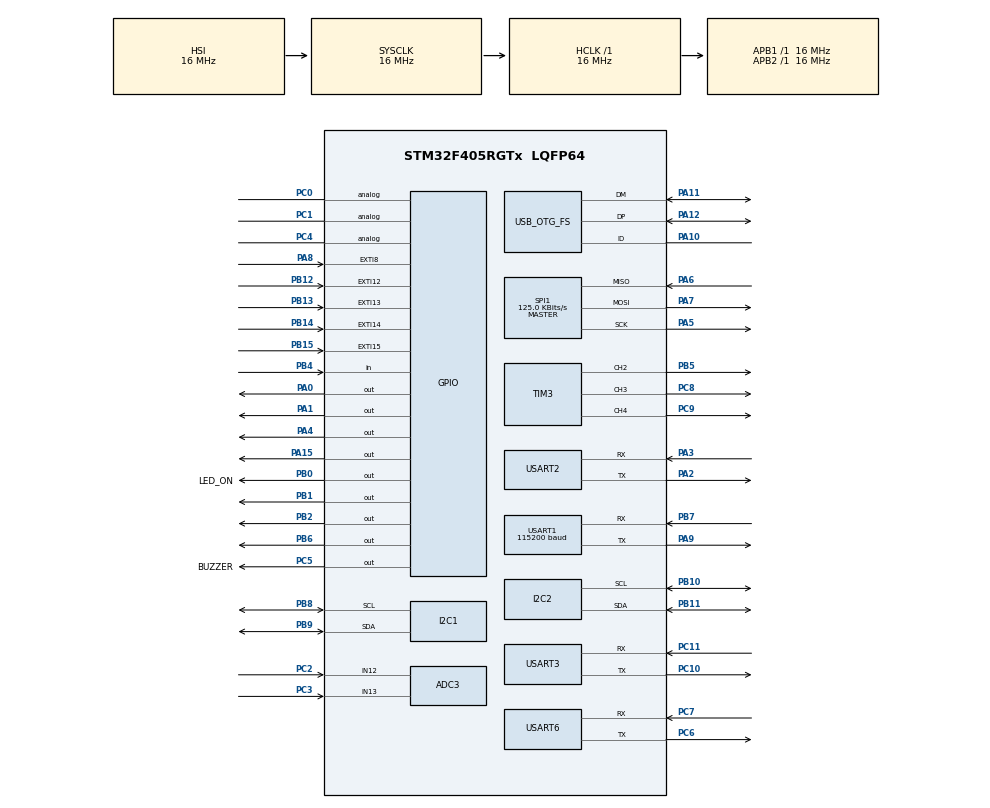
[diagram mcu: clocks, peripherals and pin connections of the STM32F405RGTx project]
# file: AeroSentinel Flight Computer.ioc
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ADC3.Channel-1\#ChannelRegularConversion=ADC_CHANNEL_12
ADC3.NbrOfConversionFlag=1
ADC3.Rank-1\#ChannelRegularConversion=1
ADC3.SamplingTime-1\#ChannelRegularConversion=ADC_SAMPLETIME_3CYCLES
FATFS._MAX_SS=4096
FATFS._USE_LFN=0
FREERTOS.BinarySemaphores01=menuSemaphore,Dynamic,NULL
FREERTOS.Events01=startCommandEvent,Dynamic,NULL
FREERTOS.Tasks01=StartCommand,40,128,StartCommandWaitTask,Default,NULL,Dynamic,NULL,NULL;Menu,24,2048,MenuTask,Default,NULL,Dynamic,NULL,NULL
FREERTOS.configUSE_NEWLIB_REENTRANT=1
Mcu.Family=STM32F4
Mcu.Name=STM32F405RGTx
Mcu.Package=LQFP64
NVIC.EXTI15_10_IRQn=true\:5\:0\:false\:false\:true\:true\:true\:true\:true
NVIC.EXTI9_5_IRQn=true\:5\:0\:false\:false\:true\:true\:true\:true\:true
NVIC.PriorityGroup=NVIC_PRIORITYGROUP_4
PA0-WKUP.Signal=GPIO_Output
PA1.Signal=GPIO_Output
PA10.Mode=OTG/Dual_Role_Device
PA10.Signal=USB_OTG_FS_ID
PA11.Mode=OTG/Dual_Role_Device
PA11.Signal=USB_OTG_FS_DM
PA12.Mode=OTG/Dual_Role_Device
PA12.Signal=USB_OTG_FS_DP
PA13.Mode=Serial_Wire
PA13.Signal=SYS_JTMS-SWDIO
PA14.Mode=Serial_Wire
PA14.Signal=SYS_JTCK-SWCLK
PA15.Signal=GPIO_Output
PA2.Mode=Asynchronous
PA2.Signal=USART2_TX
PA3.Mode=Asynchronous
PA3.Signal=USART2_RX
PA4.GPIO_Speed=GPIO_SPEED_FREQ_MEDIUM
PA4.PinState=GPIO_PIN_SET
PA4.Signal=GPIO_Output
PA5.Mode=Full_Duplex_Master
PA5.Signal=SPI1_SCK
PA6.Mode=Full_Duplex_Master
PA6.Signal=SPI1_MISO
PA7.Mode=Full_Duplex_Master
PA7.Signal=SPI1_MOSI
PA8.Signal=GPXTI8
PA9.Mode=Asynchronous
PA9.Signal=USART1_TX
PB0.GPIO_Label=LED_ON
PB0.Signal=GPIO_Output
PB1.Signal=GPIO_Output
PB10.Mode=I2C
PB10.Signal=I2C2_SCL
PB11.Mode=I2C
PB11.Signal=I2C2_SDA
PB12.Signal=GPXTI12
PB13.Signal=GPXTI13
PB14.Signal=GPXTI14
PB15.Signal=GPXTI15
PB2.Signal=GPIO_Output
PB4.Signal=GPIO_Input
PB5.Signal=S_TIM3_CH2
PB6.Signal=GPIO_Output
PB7.Mode=Asynchronous
PB7.Signal=USART1_RX
PB8.Mode=I2C
PB8.Signal=I2C1_SCL
PB9.Mode=I2C
PB9.Signal=I2C1_SDA
PC0.Signal=GPIO_Analog
PC1.Signal=GPIO_Analog
PC10.Mode=Asynchronous
PC10.Signal=USART3_TX
PC11.Mode=Asynchronous
PC11.Signal=USART3_RX
PC2.Signal=ADCx_IN12
PC3.Signal=ADCx_IN13
PC4.Signal=GPIO_Analog
PC5.GPIO_Label=BUZZER
PC5.Signal=GPIO_Output
PC6.Mode=Asynchronous
PC6.Signal=USART6_TX
PC7.Mode=Asynchronous
PC7.Signal=USART6_RX
PC8.Signal=S_TIM3_CH3
PC9.Signal=S_TIM3_CH4
PH0-OSC_IN.Mode=HSE-External-Oscillator
PH0-OSC_IN.Signal=RCC_OSC_IN
PH1-OSC_OUT.Mode=HSE-External-Oscillator
PH1-OSC_OUT.Signal=RCC_OSC_OUT
ProjectManager.HeapSize=0x200
ProjectManager.StackSize=0x400
ProjectManager.TargetToolchain=STM32CubeIDE
RCC.48MHZClocksFreq_Value=48000000
RCC.AHBFreq_Value=16000000
RCC.APB1Freq_Value=16000000
RCC.APB2Freq_Value=16000000
RCC.CortexFreq_Value=16000000
RCC.HSE_VALUE=25000000
RCC.HSI_VALUE=16000000
RCC.LSE_VALUE=32768
RCC.PLLM=15
RCC.PLLN=144
RCC.PLLQ=5
RCC.SYSCLKFreq_VALUE=16000000
RCC.VCOOutputFreq_Value=240000000
SH.ADCx_IN12.0=ADC3_IN12,IN12
SH.ADCx_IN13.0=ADC3_IN13,IN13
SH.S_TIM3_CH2.0=TIM3_CH2,PWM Generation2 CH2
SH.S_TIM3_CH3.0=TIM3_CH3,PWM Generation3 CH3
SH.S_TIM3_CH4.0=TIM3_CH4,PWM Generation4 CH4
SPI1.BaudRatePrescaler=SPI_BAUDRATEPRESCALER_128
SPI1.CalculateBaudRate=125.0 KBits/s
SPI1.Direction=SPI_DIRECTION_2LINES
SPI1.Mode=SPI_MODE_MASTER
SPI1.VirtualType=VM_MASTER
STMicroelectronics.X-CUBE-MEMS1.9.6.0.SensorsJjSTM32IiMotionFXIiLibraryJjCore=true
TIM3.Channel-PWM\ Generation2\ CH2=TIM_CHANNEL_2
TIM3.Channel-PWM\ Generation3\ CH3=TIM_CHANNEL_3
TIM3.Channel-PWM\ Generation4\ CH4=TIM_CHANNEL_4
USART1.BaudRate=115200
USART1.VirtualMode=VM_ASYNC
USART2.VirtualMode=VM_ASYNC
USART3.VirtualMode=VM_ASYNC
USART6.VirtualMode=VM_ASYNC
VP_CRC_VS_CRC.Mode=CRC_Activate
VP_FATFS_VS_Generic.Mode=User_defined
VP_FREERTOS_VS_CMSIS_V2.Mode=CMSIS_V2
VP_RTC_VS_RTC_Activate.Mode=RTC_Enabled
VP_STMicroelectronics.X-CUBE-MEMS1_VS_SensorsJjSTM32IiMotionFXIiLibrary_2.8.0_9.6.0.Mode=SensorsJjSTM32IiMotionFXIiLibrary
VP_TIM2_VS_ClockSourceINT.Mode=Internal
VP_TIM3_VS_ClockSourceINT.Mode=Internal
VP_TIM5_VS_ClockSourceINT.Mode=Internal
board=custom

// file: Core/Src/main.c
/* USER CODE BEGIN Header */
  /***
   *               ______ _____   ____   _____ ______ _   _ _______ _____ _   _ ______ _
   *         /\   |  ____|  __ \ / __ \ / ____|  ____| \ | |__   __|_   _| \ | |  ____| |
   *        /  \  | |__  | |__) | |  | | (___ | |__  |  \| |  | |    | | |  \| | |__  | |
   *       / /\ \ |  __| |  _  /| |  | |\___ \|  __| | . ` |  | |    | | | . ` |  __| | |
   *      / ____ \| |____| | \ \| |__| |____) | |____| |\  |  | |   _| |_| |\  | |____| |____
   *     /_/    \_\______|_|  \_\\____/|_____/|______|_| \_|  |_|  |_____|_| \_|______|______|
   *                                                                 By Yassine DEHHANI
   *	 ________________________________
   *     |								|
   *     | File : Main.c				|
   *     |______________________________|
   *     |								|
   *     | Description : Main entry     |
   *     | for software execution       |
   *     |______________________________|
   *
   *
   */
/* USER CODE END Header */
#include "main.h"
#include "cmsis_os.h"
#include "fatfs.h"

/* USER CODE BEGIN Includes */

#include <Control_Center.h>
#include "fatfs.h"
#include "e220.h"
#include "RTOS_Attributes_Local.h"

/* USER CODE END Includes */

ADC_HandleTypeDef hadc3;

CRC_HandleTypeDef hcrc;

I2C_HandleTypeDef hi2c1;
I2C_HandleTypeDef hi2c2;

RTC_HandleTypeDef hrtc;

SPI_HandleTypeDef hspi1;

TIM_HandleTypeDef htim2;
TIM_HandleTypeDef htim3;
TIM_HandleTypeDef htim5;

UART_HandleTypeDef huart1;
UART_HandleTypeDef huart2;
UART_HandleTypeDef huart3;
UART_HandleTypeDef huart6;

/* Definitions for StartCommand */
osThreadId_t StartCommandHandle;
const osThreadAttr_t StartCommand_attributes = {
  .name = "StartCommand",
  .stack_size = 128 * 4,
  .priority = (osPriority_t) osPriorityHigh,
};
/* Definitions for Menu */
osThreadId_t MenuHandle;
const osThreadAttr_t Menu_attributes = {
  .name = "Menu",
  .stack_size = 2048 * 4,
  .priority = (osPriority_t) osPriorityNormal,
};
/* Definitions for menuSemaphore */
osSemaphoreId_t menuSemaphoreHandle;
const osSemaphoreAttr_t menuSemaphore_attributes = {
  .name = "menuSemaphore"
};
/* Definitions for startCommandEvent */
osEventFlagsId_t startCommandEventHandle;
const osEventFlagsAttr_t startCommandEvent_attributes = {
  .name = "startCommandEvent"
};

void SystemClock_Config(void);
static void MX_GPIO_Init(void);
static void MX_ADC3_Init(void);
static void MX_I2C1_Init(void);
static void MX_I2C2_Init(void);
static void MX_SPI1_Init(void);
static void MX_USART1_UART_Init(void);
static void MX_USART2_UART_Init(void);
static void MX_USART3_UART_Init(void);
static void MX_USART6_UART_Init(void);
static void MX_USB_OTG_FS_USB_Init(void);
static void MX_TIM2_Init(void);
static void MX_TIM3_Init(void);
static void MX_TIM5_Init(void);
static void MX_RTC_Init(void);
static void MX_CRC_Init(void);
void StartCommandWaitTask(void *argument);
void MenuTask(void *argument);

/* USER CODE BEGIN 0 */

void UART_Transmit_Uint8(uint8_t value)
{
    char buffer[5];  // Assuming uint8_t values won't exceed 3 digits

    sprintf(buffer, "%hhu\r\n", value);
    HAL_UART_Transmit(&huart1, (uint8_t*)buffer, strlen(buffer), HAL_MAX_DELAY);
}

/* USER CODE END 0 */

int main(void)
{

  /* MCU Configuration--------------------------------------------------------*/

  /* Reset of all peripherals, Initializes the Flash interface and the Systick. */
  HAL_Init();

  /* Configure the system clock */
  SystemClock_Config();

  /* Initialize all configured peripherals */
  MX_GPIO_Init();
  MX_ADC3_Init();
  MX_I2C1_Init();
  MX_I2C2_Init();
  MX_SPI1_Init();
  MX_USART1_UART_Init();
  MX_USART2_UART_Init();
  MX_USART3_UART_Init();
  MX_USART6_UART_Init();
  MX_USB_OTG_FS_USB_Init();
  MX_TIM2_Init();
  MX_TIM3_Init();
  MX_TIM5_Init();
  MX_FATFS_Init();
  MX_RTC_Init();
  MX_CRC_Init();
  /* USER CODE BEGIN 2 */

  HAL_GPIO_WritePin(GPIOB, LED_ON_Pin, GPIO_PIN_SET); // LED_ON Pin enabled

  //INITIALIZATION SECTOR

  //printIntroTitle();
  //printOptions();

  /* USER CODE END 2 */

  /* Init scheduler */
  osKernelInitialize();

  /* Create the semaphores(s) */
  /* creation of menuSemaphore */
  menuSemaphoreHandle = osSemaphoreNew(1, 1, &menuSemaphore_attributes);

  /* Create the thread(s) */
  /* creation of StartCommand */
  StartCommandHandle = osThreadNew(StartCommandWaitTask, NULL, &StartCommand_attributes);

  /* creation of Menu */
  MenuHandle = osThreadNew(MenuTask, NULL, &Menu_attributes);

  /* USER CODE BEGIN RTOS_THREADS */

  // Create and start the Command Wait task
  //osThreadNew(StartCommandWaitTask, NULL, &commandWaitTask_attributes);

  // Create and start the MenuTask
  //osThreadNew(MenuTask, NULL, NULL); // This line creates and starts the MenuTask

  /* USER CODE END RTOS_THREADS */

  /* Create the event(s) */
  /* creation of startCommandEvent */
  startCommandEventHandle = osEventFlagsNew(&startCommandEvent_attributes);

  /* Start scheduler */
  osKernelStart();

  /* We should never get here as control is now taken by the scheduler */
  /* Infinite loop */
  while (1)
  {

    /* USER CODE BEGIN 3 */

	  // Usage : screen /dev/tty.usbserial-1120 (OR tty.usbserial-1130)  115200
	  //MENU SECTOR ------------------------------------------------------------------------

	  char userInput;
	  UART_Transmit_String("\r\nChoice: ");
	         HAL_UART_Receive(&huart1, (uint8_t *)&userInput, sizeof(userInput), HAL_MAX_DELAY);

	         switch (userInput)
	         {
	         case '\r': // Ignore carriage return characters
	             break;
	         case '\n': // Process command on new line (Enter pressed)
	             UART_Transmit_String("\r\n"); // Move to a new line after the command
	             break;
	         default:
	             menu(userInput);
	             break;
	         }

	         HAL_Delay(100);

	  //END MENU SECTOR ------------------------------------------------------------------------

  }

  /* USER CODE END 3 */
}

void SystemClock_Config(void)
{
  RCC_OscInitTypeDef RCC_OscInitStruct = {0};
  RCC_ClkInitTypeDef RCC_ClkInitStruct = {0};

  /** Configure the main internal regulator output voltage
  */
  __HAL_RCC_PWR_CLK_ENABLE();
  __HAL_PWR_VOLTAGESCALING_CONFIG(PWR_REGULATOR_VOLTAGE_SCALE1);

  /** Initializes the RCC Oscillators according to the specified parameters
  * in the RCC_OscInitTypeDef structure.
  */
  RCC_OscInitStruct.OscillatorType = RCC_OSCILLATORTYPE_HSI|RCC_OSCILLATORTYPE_LSI
                              |RCC_OSCILLATORTYPE_HSE;
  RCC_OscInitStruct.HSEState = RCC_HSE_ON;
  RCC_OscInitStruct.HSIState = RCC_HSI_ON;
  RCC_OscInitStruct.HSICalibrationValue = RCC_HSICALIBRATION_DEFAULT;
  RCC_OscInitStruct.LSIState = RCC_LSI_ON;
  RCC_OscInitStruct.PLL.PLLState = RCC_PLL_ON;
  RCC_OscInitStruct.PLL.PLLSource = RCC_PLLSOURCE_HSE;
  RCC_OscInitStruct.PLL.PLLM = 15;
  RCC_OscInitStruct.PLL.PLLN = 144;
  RCC_OscInitStruct.PLL.PLLP = RCC_PLLP_DIV2;
  RCC_OscInitStruct.PLL.PLLQ = 5;
  if (HAL_RCC_OscConfig(&RCC_OscInitStruct) != HAL_OK)
  {
    Error_Handler();
  }

  /** Initializes the CPU, AHB and APB buses clocks
  */
  RCC_ClkInitStruct.ClockType = RCC_CLOCKTYPE_HCLK|RCC_CLOCKTYPE_SYSCLK
                              |RCC_CLOCKTYPE_PCLK1|RCC_CLOCKTYPE_PCLK2;
  RCC_ClkInitStruct.SYSCLKSource = RCC_SYSCLKSOURCE_HSI;
  RCC_ClkInitStruct.AHBCLKDivider = RCC_SYSCLK_DIV1;
  RCC_ClkInitStruct.APB1CLKDivider = RCC_HCLK_DIV1;
  RCC_ClkInitStruct.APB2CLKDivider = RCC_HCLK_DIV1;

  if (HAL_RCC_ClockConfig(&RCC_ClkInitStruct, FLASH_LATENCY_0) != HAL_OK)
  {
    Error_Handler();
  }
}

static void MX_ADC3_Init(void)
{

  ADC_ChannelConfTypeDef sConfig = {0};

  /** Configure the global features of the ADC (Clock, Resolution, Data Alignment and number of conversion)
  */
  hadc3.Instance = ADC3;
  hadc3.Init.ClockPrescaler = ADC_CLOCK_SYNC_PCLK_DIV2;
  hadc3.Init.Resolution = ADC_RESOLUTION_12B;
  hadc3.Init.ScanConvMode = DISABLE;
  hadc3.Init.ContinuousConvMode = DISABLE;
  hadc3.Init.DiscontinuousConvMode = DISABLE;
  hadc3.Init.ExternalTrigConvEdge = ADC_EXTERNALTRIGCONVEDGE_NONE;
  hadc3.Init.ExternalTrigConv = ADC_SOFTWARE_START;
  hadc3.Init.DataAlign = ADC_DATAALIGN_RIGHT;
  hadc3.Init.NbrOfConversion = 1;
  hadc3.Init.DMAContinuousRequests = DISABLE;
  hadc3.Init.EOCSelection = ADC_EOC_SINGLE_CONV;
  if (HAL_ADC_Init(&hadc3) != HAL_OK)
  {
    Error_Handler();
  }

  /** Configure for the selected ADC regular channel its corresponding rank in the sequencer and its sample time.
  */
  sConfig.Channel = ADC_CHANNEL_12;
  sConfig.Rank = 1;
  sConfig.SamplingTime = ADC_SAMPLETIME_3CYCLES;
  if (HAL_ADC_ConfigChannel(&hadc3, &sConfig) != HAL_OK)
  {
    Error_Handler();
  }

}

static void MX_CRC_Init(void)
{

  hcrc.Instance = CRC;
  if (HAL_CRC_Init(&hcrc) != HAL_OK)
  {
    Error_Handler();
  }

}

static void MX_I2C1_Init(void)
{

  hi2c1.Instance = I2C1;
  hi2c1.Init.ClockSpeed = 100000;
  hi2c1.Init.DutyCycle = I2C_DUTYCYCLE_2;
  hi2c1.Init.OwnAddress1 = 0;
  hi2c1.Init.AddressingMode = I2C_ADDRESSINGMODE_7BIT;
  hi2c1.Init.DualAddressMode = I2C_DUALADDRESS_DISABLE;
  hi2c1.Init.OwnAddress2 = 0;
  hi2c1.Init.GeneralCallMode = I2C_GENERALCALL_DISABLE;
  hi2c1.Init.NoStretchMode = I2C_NOSTRETCH_DISABLE;
  if (HAL_I2C_Init(&hi2c1) != HAL_OK)
  {
    Error_Handler();
  }

}

static void MX_I2C2_Init(void)
{

  hi2c2.Instance = I2C2;
  hi2c2.Init.ClockSpeed = 100000;
  hi2c2.Init.DutyCycle = I2C_DUTYCYCLE_2;
  hi2c2.Init.OwnAddress1 = 0;
  hi2c2.Init.AddressingMode = I2C_ADDRESSINGMODE_7BIT;
  hi2c2.Init.DualAddressMode = I2C_DUALADDRESS_DISABLE;
  hi2c2.Init.OwnAddress2 = 0;
  hi2c2.Init.GeneralCallMode = I2C_GENERALCALL_DISABLE;
  hi2c2.Init.NoStretchMode = I2C_NOSTRETCH_DISABLE;
  if (HAL_I2C_Init(&hi2c2) != HAL_OK)
  {
    Error_Handler();
  }

}

static void MX_RTC_Init(void)
{

  /** Initialize RTC Only
  */
  hrtc.Instance = RTC;
  hrtc.Init.HourFormat = RTC_HOURFORMAT_24;
  hrtc.Init.AsynchPrediv = 127;
  hrtc.Init.SynchPrediv = 255;
  hrtc.Init.OutPut = RTC_OUTPUT_DISABLE;
  hrtc.Init.OutPutPolarity = RTC_OUTPUT_POLARITY_HIGH;
  hrtc.Init.OutPutType = RTC_OUTPUT_TYPE_OPENDRAIN;
  if (HAL_RTC_Init(&hrtc) != HAL_OK)
  {
    Error_Handler();
  }

}

static void MX_SPI1_Init(void)
{

  /* SPI1 parameter configuration*/
  hspi1.Instance = SPI1;
  hspi1.Init.Mode = SPI_MODE_MASTER;
  hspi1.Init.Direction = SPI_DIRECTION_2LINES;
  hspi1.Init.DataSize = SPI_DATASIZE_8BIT;
  hspi1.Init.CLKPolarity = SPI_POLARITY_LOW;
  hspi1.Init.CLKPhase = SPI_PHASE_1EDGE;
  hspi1.Init.NSS = SPI_NSS_SOFT;
  hspi1.Init.BaudRatePrescaler = SPI_BAUDRATEPRESCALER_128;
  hspi1.Init.FirstBit = SPI_FIRSTBIT_MSB;
  hspi1.Init.TIMode = SPI_TIMODE_DISABLE;
  hspi1.Init.CRCCalculation = SPI_CRCCALCULATION_DISABLE;
  hspi1.Init.CRCPolynomial = 10;
  if (HAL_SPI_Init(&hspi1) != HAL_OK)
  {
    Error_Handler();
  }

}

static void MX_TIM2_Init(void)
{

  TIM_ClockConfigTypeDef sClockSourceConfig = {0};
  TIM_MasterConfigTypeDef sMasterConfig = {0};

  htim2.Instance = TIM2;
  htim2.Init.Prescaler = 0;
  htim2.Init.CounterMode = TIM_COUNTERMODE_UP;
  htim2.Init.Period = 4294967295;
  htim2.Init.ClockDivision = TIM_CLOCKDIVISION_DIV1;
  htim2.Init.AutoReloadPreload = TIM_AUTORELOAD_PRELOAD_DISABLE;
  if (HAL_TIM_Base_Init(&htim2) != HAL_OK)
  {
    Error_Handler();
  }
  sClockSourceConfig.ClockSource = TIM_CLOCKSOURCE_INTERNAL;
  if (HAL_TIM_ConfigClockSource(&htim2, &sClockSourceConfig) != HAL_OK)
  {
    Error_Handler();
  }
  sMasterConfig.MasterOutputTrigger = TIM_TRGO_RESET;
  sMasterConfig.MasterSlaveMode = TIM_MASTERSLAVEMODE_DISABLE;
  if (HAL_TIMEx_MasterConfigSynchronization(&htim2, &sMasterConfig) != HAL_OK)
  {
    Error_Handler();
  }

}

static void MX_TIM3_Init(void)
{

  TIM_ClockConfigTypeDef sClockSourceConfig = {0};
  TIM_MasterConfigTypeDef sMasterConfig = {0};
  TIM_OC_InitTypeDef sConfigOC = {0};

  htim3.Instance = TIM3;
  htim3.Init.Prescaler = 0;
  htim3.Init.CounterMode = TIM_COUNTERMODE_UP;
  htim3.Init.Period = 65535;
  htim3.Init.ClockDivision = TIM_CLOCKDIVISION_DIV1;
  htim3.Init.AutoReloadPreload = TIM_AUTORELOAD_PRELOAD_DISABLE;
  if (HAL_TIM_Base_Init(&htim3) != HAL_OK)
  {
    Error_Handler();
  }
  sClockSourceConfig.ClockSource = TIM_CLOCKSOURCE_INTERNAL;
  if (HAL_TIM_ConfigClockSource(&htim3, &sClockSourceConfig) != HAL_OK)
  {
    Error_Handler();
  }
  if (HAL_TIM_PWM_Init(&htim3) != HAL_OK)
  {
    Error_Handler();
  }
  sMasterConfig.MasterOutputTrigger = TIM_TRGO_RESET;
  sMasterConfig.MasterSlaveMode = TIM_MASTERSLAVEMODE_DISABLE;
  if (HAL_TIMEx_MasterConfigSynchronization(&htim3, &sMasterConfig) != HAL_OK)
  {
    Error_Handler();
  }
  sConfigOC.OCMode = TIM_OCMODE_PWM1;
  sConfigOC.Pulse = 0;
  sConfigOC.OCPolarity = TIM_OCPOLARITY_HIGH;
  sConfigOC.OCFastMode = TIM_OCFAST_DISABLE;
  if (HAL_TIM_PWM_ConfigChannel(&htim3, &sConfigOC, TIM_CHANNEL_2) != HAL_OK)
  {
    Error_Handler();
  }
  if (HAL_TIM_PWM_ConfigChannel(&htim3, &sConfigOC, TIM_CHANNEL_3) != HAL_OK)
  {
    Error_Handler();
  }
  if (HAL_TIM_PWM_ConfigChannel(&htim3, &sConfigOC, TIM_CHANNEL_4) != HAL_OK)
  {
    Error_Handler();
  }
  HAL_TIM_MspPostInit(&htim3);

}

static void MX_TIM5_Init(void)
{

  TIM_ClockConfigTypeDef sClockSourceConfig = {0};
  TIM_MasterConfigTypeDef sMasterConfig = {0};

  htim5.Instance = TIM5;
  htim5.Init.Prescaler = 0;
  htim5.Init.CounterMode = TIM_COUNTERMODE_UP;
  htim5.Init.Period = 4294967295;
  htim5.Init.ClockDivision = TIM_CLOCKDIVISION_DIV1;
  htim5.Init.AutoReloadPreload = TIM_AUTORELOAD_PRELOAD_DISABLE;
  if (HAL_TIM_Base_Init(&htim5) != HAL_OK)
  {
    Error_Handler();
  }
  sClockSourceConfig.ClockSource = TIM_CLOCKSOURCE_INTERNAL;
  if (HAL_TIM_ConfigClockSource(&htim5, &sClockSourceConfig) != HAL_OK)
  {
    Error_Handler();
  }
  sMasterConfig.MasterOutputTrigger = TIM_TRGO_RESET;
  sMasterConfig.MasterSlaveMode = TIM_MASTERSLAVEMODE_DISABLE;
  if (HAL_TIMEx_MasterConfigSynchronization(&htim5, &sMasterConfig) != HAL_OK)
  {
    Error_Handler();
  }

}

static void MX_USART1_UART_Init(void)
{

  huart1.Instance = USART1;
  huart1.Init.BaudRate = 115200;
  huart1.Init.WordLength = UART_WORDLENGTH_8B;
  huart1.Init.StopBits = UART_STOPBITS_1;
  huart1.Init.Parity = UART_PARITY_NONE;
  huart1.Init.Mode = UART_MODE_TX_RX;
  huart1.Init.HwFlowCtl = UART_HWCONTROL_NONE;
  huart1.Init.OverSampling = UART_OVERSAMPLING_16;
  if (HAL_UART_Init(&huart1) != HAL_OK)
  {
    Error_Handler();
  }

}

static void MX_USART2_UART_Init(void)
{

  huart2.Instance = USART2;
  huart2.Init.BaudRate = 115200;
  huart2.Init.WordLength = UART_WORDLENGTH_8B;
  huart2.Init.StopBits = UART_STOPBITS_1;
  huart2.Init.Parity = UART_PARITY_NONE;
  huart2.Init.Mode = UART_MODE_TX_RX;
  huart2.Init.HwFlowCtl = UART_HWCONTROL_NONE;
  huart2.Init.OverSampling = UART_OVERSAMPLING_16;
  if (HAL_UART_Init(&huart2) != HAL_OK)
  {
    Error_Handler();
  }

}

static void MX_USART3_UART_Init(void)
{

  huart3.Instance = USART3;
  huart3.Init.BaudRate = 115200;
  huart3.Init.WordLength = UART_WORDLENGTH_8B;
  huart3.Init.StopBits = UART_STOPBITS_1;
  huart3.Init.Parity = UART_PARITY_NONE;
  huart3.Init.Mode = UART_MODE_TX_RX;
  huart3.Init.HwFlowCtl = UART_HWCONTROL_NONE;
  huart3.Init.OverSampling = UART_OVERSAMPLING_16;
  if (HAL_UART_Init(&huart3) != HAL_OK)
  {
    Error_Handler();
  }

}

static void MX_USART6_UART_Init(void)
{

  huart6.Instance = USART6;
  huart6.Init.BaudRate = 115200;
  huart6.Init.WordLength = UART_WORDLENGTH_8B;
  huart6.Init.StopBits = UART_STOPBITS_1;
  huart6.Init.Parity = UART_PARITY_NONE;
  huart6.Init.Mode = UART_MODE_TX_RX;
  huart6.Init.HwFlowCtl = UART_HWCONTROL_NONE;
  huart6.Init.OverSampling = UART_OVERSAMPLING_16;
  if (HAL_UART_Init(&huart6) != HAL_OK)
  {
    Error_Handler();
  }

}

static void MX_USB_OTG_FS_USB_Init(void)
{

}

static void MX_GPIO_Init(void)
{
  GPIO_InitTypeDef GPIO_InitStruct = {0};

  /* GPIO Ports Clock Enable */
  __HAL_RCC_GPIOH_CLK_ENABLE();
  __HAL_RCC_GPIOC_CLK_ENABLE();
  __HAL_RCC_GPIOA_CLK_ENABLE();
  __HAL_RCC_GPIOB_CLK_ENABLE();

  /*Configure GPIO pin Output Level */
  HAL_GPIO_WritePin(GPIOA, GPIO_PIN_0|GPIO_PIN_1|GPIO_PIN_15, GPIO_PIN_RESET);

  /*Configure GPIO pin Output Level */
  HAL_GPIO_WritePin(GPIOA, GPIO_PIN_4, GPIO_PIN_SET);

  /*Configure GPIO pin Output Level */
  HAL_GPIO_WritePin(BUZZER_GPIO_Port, BUZZER_Pin, GPIO_PIN_RESET);

  /*Configure GPIO pin Output Level */
  HAL_GPIO_WritePin(GPIOB, LED_ON_Pin|GPIO_PIN_1|GPIO_PIN_2|GPIO_PIN_6, GPIO_PIN_RESET);

  /*Configure GPIO pins : PC0 PC1 PC4 */
  GPIO_InitStruct.Pin = GPIO_PIN_0|GPIO_PIN_1|GPIO_PIN_4;
  GPIO_InitStruct.Mode = GPIO_MODE_ANALOG;
  GPIO_InitStruct.Pull = GPIO_NOPULL;
  HAL_GPIO_Init(GPIOC, &GPIO_InitStruct);

  /*Configure GPIO pins : PA0 PA1 PA15 */
  GPIO_InitStruct.Pin = GPIO_PIN_0|GPIO_PIN_1|GPIO_PIN_15;
  GPIO_InitStruct.Mode = GPIO_MODE_OUTPUT_PP;
  GPIO_InitStruct.Pull = GPIO_NOPULL;
  GPIO_InitStruct.Speed = GPIO_SPEED_FREQ_LOW;
  HAL_GPIO_Init(GPIOA, &GPIO_InitStruct);

  /*Configure GPIO pin : PA4 */
  GPIO_InitStruct.Pin = GPIO_PIN_4;
  GPIO_InitStruct.Mode = GPIO_MODE_OUTPUT_PP;
  GPIO_InitStruct.Pull = GPIO_NOPULL;
  GPIO_InitStruct.Speed = GPIO_SPEED_FREQ_MEDIUM;
  HAL_GPIO_Init(GPIOA, &GPIO_InitStruct);

  /*Configure GPIO pin : BUZZER_Pin */
  GPIO_InitStruct.Pin = BUZZER_Pin;
  GPIO_InitStruct.Mode = GPIO_MODE_OUTPUT_PP;
  GPIO_InitStruct.Pull = GPIO_NOPULL;
  GPIO_InitStruct.Speed = GPIO_SPEED_FREQ_LOW;
  HAL_GPIO_Init(BUZZER_GPIO_Port, &GPIO_InitStruct);

  /*Configure GPIO pins : LED_ON_Pin PB1 PB2 PB6 */
  GPIO_InitStruct.Pin = LED_ON_Pin|GPIO_PIN_1|GPIO_PIN_2|GPIO_PIN_6;
  GPIO_InitStruct.Mode = GPIO_MODE_OUTPUT_PP;
  GPIO_InitStruct.Pull = GPIO_NOPULL;
  GPIO_InitStruct.Speed = GPIO_SPEED_FREQ_LOW;
  HAL_GPIO_Init(GPIOB, &GPIO_InitStruct);

  /*Configure GPIO pins : PB12 PB13 PB14 PB15 */
  GPIO_InitStruct.Pin = GPIO_PIN_12|GPIO_PIN_13|GPIO_PIN_14|GPIO_PIN_15;
  GPIO_InitStruct.Mode = GPIO_MODE_IT_RISING;
  GPIO_InitStruct.Pull = GPIO_NOPULL;
  HAL_GPIO_Init(GPIOB, &GPIO_InitStruct);

  /*Configure GPIO pin : PA8 */
  GPIO_InitStruct.Pin = GPIO_PIN_8;
  GPIO_InitStruct.Mode = GPIO_MODE_IT_RISING;
  GPIO_InitStruct.Pull = GPIO_NOPULL;
  HAL_GPIO_Init(GPIOA, &GPIO_InitStruct);

  /*Configure GPIO pins : PA10 PA11 PA12 */
  GPIO_InitStruct.Pin = GPIO_PIN_10|GPIO_PIN_11|GPIO_PIN_12;
  GPIO_InitStruct.Mode = GPIO_MODE_AF_PP;
  GPIO_InitStruct.Pull = GPIO_NOPULL;
  GPIO_InitStruct.Speed = GPIO_SPEED_FREQ_VERY_HIGH;
  GPIO_InitStruct.Alternate = GPIO_AF10_OTG_FS;
  HAL_GPIO_Init(GPIOA, &GPIO_InitStruct);

  /*Configure GPIO pin : PB4 */
  GPIO_InitStruct.Pin = GPIO_PIN_4;
  GPIO_InitStruct.Mode = GPIO_MODE_INPUT;
  GPIO_InitStruct.Pull = GPIO_NOPULL;
  HAL_GPIO_Init(GPIOB, &GPIO_InitStruct);

  /* EXTI interrupt init*/
  HAL_NVIC_SetPriority(EXTI9_5_IRQn, 5, 0);
  HAL_NVIC_EnableIRQ(EXTI9_5_IRQn);

  HAL_NVIC_SetPriority(EXTI15_10_IRQn, 5, 0);
  HAL_NVIC_EnableIRQ(EXTI15_10_IRQn);

}

void StartCommandWaitTask(void *argument)
{
  /* USER CODE BEGIN 5 */
    //osSemaphoreAcquire(menuSemaphoreHandle, osWaitForever);

  /* Infinite loop */
  for(;;)
  {
	  if (waitForStartCommand()){
		  break;
	  }
      osDelay(1000);
  }

  // Start your main program here
  printIntroTitle();

  // Set the event flag to signal that the start command has been received
  osEventFlagsSet(startCommandEventHandle, 0x0001U);

  // Exit this task
  osThreadExit();
  /* USER CODE END 5 */
}

void MenuTask(void *argument)
{
  /* USER CODE BEGIN MenuTask */
	  // Wait for the start command event to be set
	  osEventFlagsWait(startCommandEventHandle, 0x0001U, osFlagsWaitAny, osWaitForever);

      // Print menu options and handle user input
      printMenu(MENU_MAIN);

  /* Infinite loop */
  for(;;)
  {
	  UART_Transmit_String("Choose an option:\r\n");
      // Wait for user input and execute the corresponding command
      char userInput = waitForUserInput(); // Implement this function to get user input
      menu(userInput);
  }

  UART_Transmit_String("OOPS.. You're not supposed to be here!");
  /* USER CODE END MenuTask */
}

void Error_Handler(void)
{
  __disable_irq();
  while (1)
  {
  }
}
